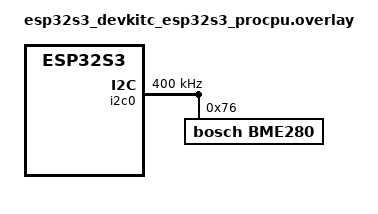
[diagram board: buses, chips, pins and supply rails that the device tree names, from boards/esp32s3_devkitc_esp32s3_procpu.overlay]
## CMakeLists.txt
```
# SPDX-License-Identifier: Apache-2.0

cmake_minimum_required(VERSION 3.28.0)
find_package(Zephyr REQUIRED HINTS $ENV{ZEPHYR_BASE})
project(sensor_read_decode)

target_sources(app PRIVATE src/main.c)
```

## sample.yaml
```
sample:
  name: sensor-read-decode
  description: BME280 をセンサ API の Read/Decode で読む
common:
  platform_allow:
    - esp32s3_devkitc/esp32s3/procpu
  integration_platforms:
    - esp32s3_devkitc/esp32s3/procpu
  build_only: true
  tags: advent2026
tests:
  advent.sensor_read_decode: {}
  # 温度センサを SHT4x に替えるビルド
  advent.sensor_read_decode.sht4x:
    extra_args:
      - EXTRA_DTC_OVERLAY_FILE=sht4x.overlay
```

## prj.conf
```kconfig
CONFIG_SENSOR=y

# Read/Decode (sensor_read) を使う
CONFIG_SENSOR_ASYNC_API=y
```

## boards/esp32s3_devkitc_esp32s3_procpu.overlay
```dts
/*
 * ESPr Developer S3 Type-C 用の overlay
 * (Zephyr のボード名は esp32s3_devkitc/esp32s3/procpu を流用)
 *
 * I2C0 (SDA=GPIO1, SCL=GPIO2) に BME280 (0x76) をつなぐ
 *
 * SPDX-License-Identifier: Apache-2.0
 */

/ {
	aliases {
		/* アプリはこの別名でセンサを取る (型番を C のソースに書かない) */
		ambient-temp0 = &bme280;
	};
};

&i2c0 {
	status = "okay";
	clock-frequency = <I2C_BITRATE_FAST>;

	bme280: bme280@76 {
		compatible = "bosch,bme280";
		reg = <0x76>;
	};
};
```

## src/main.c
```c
/*
 * Sensor API (Read/Decode) でセンサを読むサンプル
 *
 * SPDX-License-Identifier: Apache-2.0
 */

#include <zephyr/kernel.h>
#include <zephyr/device.h>
#include <zephyr/devicetree.h>
#include <zephyr/drivers/sensor.h>
#include <zephyr/drivers/sensor_data_types.h>
#include <zephyr/rtio/rtio.h>
#include <zephyr/dsp/print_format.h>

/* Device Tree の別名 ambient-temp0 が指すセンサ (型番は overlay で決まる) */
#define SENSOR_NODE DT_ALIAS(ambient_temp0)

static const struct device *const dev = DEVICE_DT_GET(SENSOR_NODE);

/* 読むチャンネルの組を、ビルド時に I/O デバイスとして定義する */
SENSOR_DT_READ_IODEV(iodev, SENSOR_NODE,
		     {SENSOR_CHAN_AMBIENT_TEMP, 0},
		     {SENSOR_CHAN_PRESS, 0},
		     {SENSOR_CHAN_HUMIDITY, 0});

/* 要求 (SQ) と完了 (CQ) のキューを 1 つずつ持つ RTIO のコンテキスト */
RTIO_DEFINE(ctx, 1, 1);

static void print_channel(const struct sensor_decoder_api *decoder, const uint8_t *buf,
			  const char *name, enum sensor_channel chan, const char *unit)
{
	struct sensor_q31_data data = {0};
	uint32_t fit = 0;
	int n = decoder->decode(buf, (struct sensor_chan_spec){chan, 0}, &fit, 1, &data);

	if (n <= 0) {
		printk("  %-8s: not available (%d)\n", name, n);
		return;
	}

	/* 値は q31 (固定小数点) と shift の組。値 = value / 2^31 * 2^shift */
	printk("  %-8s: value=%d shift=%d -> %" PRIq(2) " %s\n", name,
	       data.readings[0].value, data.shift,
	       PRIq_arg(data.readings[0].value, 2, data.shift), unit);
}

int main(void)
{
	if (!device_is_ready(dev)) {
		printk("sensor %s is not ready\n", dev->name);
		return 0;
	}
	printk("sensor: %s\n", dev->name);

	const struct sensor_decoder_api *decoder;
	int rc = sensor_get_decoder(dev, &decoder);

	if (rc < 0) {
		printk("sensor_get_decoder failed: %d\n", rc);
		return 0;
	}

	while (1) {
		uint8_t buf[64];
		uint32_t start = k_cycle_get_32();

		/* 読み取りを要求し、終わるまで待つ。buf にはセンサ固有の形のデータが入る */
		rc = sensor_read(&iodev, &ctx, buf, sizeof(buf));

		uint32_t us = k_cyc_to_us_floor32(k_cycle_get_32() - start);

		if (rc < 0) {
			printk("sensor_read failed: %d\n", rc);
		} else {
			printk("read: %u us\n", us);
			print_channel(decoder, buf, "temp", SENSOR_CHAN_AMBIENT_TEMP, "C");
			print_channel(decoder, buf, "press", SENSOR_CHAN_PRESS, "kPa");
			print_channel(decoder, buf, "humidity", SENSOR_CHAN_HUMIDITY, "%RH");
		}
		k_msleep(2000);
	}
	return 0;
}
```
